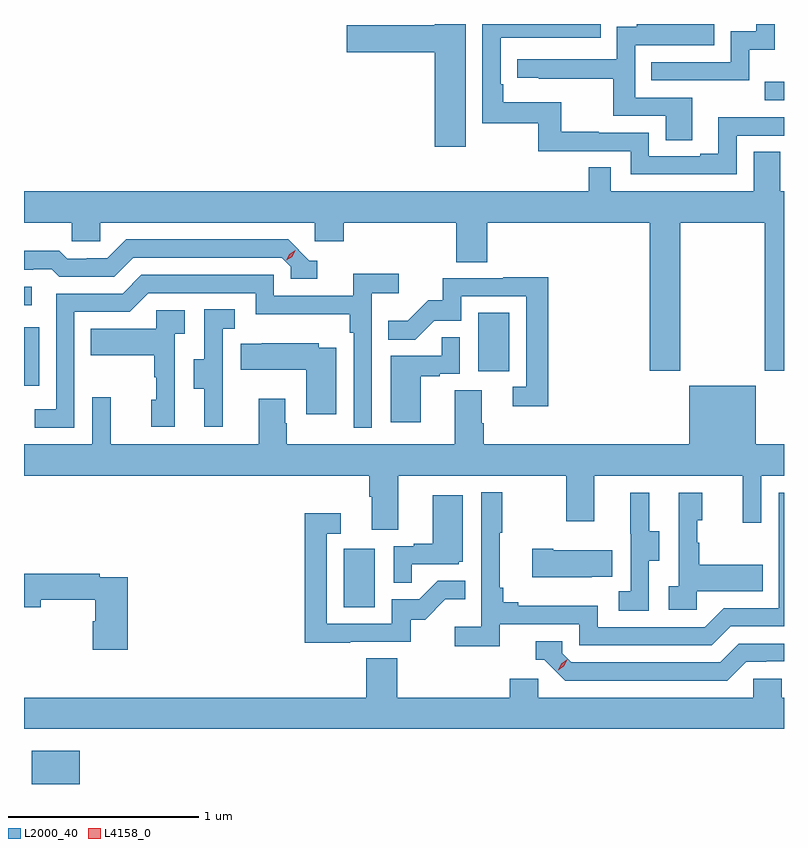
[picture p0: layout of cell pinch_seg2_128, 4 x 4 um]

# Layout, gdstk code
import gdstk
lib = gdstk.Library(unit=1e-6, precision=1e-09)
def R(c, l, rs):  # rectangles x0, y0, x1, y1
    for r in rs: c.add(gdstk.rectangle(r[:2], r[2:], *l))
def P(c, l, *ps):  # polygons
    for p in ps: c.add(gdstk.Polygon(p, *l))
L2000_40 = (2000, 40)
L4158_0 = (4158, 0)

pinch_seg2_128 = lib.new_cell('pinch_seg2_128')
R(pinch_seg2_128, L2000_40, [(1043.687,626.033,1043.938,626.209), (1045.328,626.964,1045.492,627.271), (1043.645,628.128,1043.724,628.438), (1046.036,628.206,1046.2,628.513), (1043.645,628.554,1043.686,628.65), (1047.543,629.631,1047.645,629.728)])
P(pinch_seg2_128, L2000_40, [(1045.969,630.033),(1045.808,630.033),(1045.808,630.027),(1045.344,630.027),(1045.344,629.885),(1045.808,629.885),(1045.808,629.388),(1045.969,629.388)],
  [(1047.462,629.897),(1047.595,629.897),(1047.595,630.033),(1047.498,630.033),(1047.498,629.995),(1047.366,629.995),(1047.366,629.832),(1046.947,629.832),(1046.947,629.736),(1047.462,629.736)],
  [(1047.396,629.445),(1047.645,629.445),(1047.645,629.541),(1047.504,629.541),(1047.504,629.543),(1047.299,629.543),(1047.299,629.35),(1047.203,629.35),(1047.203,629.337),(1046.934,629.337),(1046.934,629.46),(1046.669,629.46),(1046.669,629.465),(1046.473,629.465),(1046.473,629.62),(1046.168,629.62),(1046.168,629.716),(1046.154,629.716),(1046.154,629.961),(1046.467,629.961),(1046.467,629.96),(1046.681,629.96),(1046.681,630.033),(1046.058,630.033),(1046.058,629.511),(1046.352,629.511),(1046.352,629.364),(1046.838,629.364),(1046.838,629.241),(1047.396,629.241)],
  [(1047.163,629.646),(1046.862,629.646),(1046.862,629.922),(1047.279,629.922),(1047.279,630.033),(1047.168,630.033),(1047.168,630.031),(1046.869,630.031),(1046.869,630.019),(1046.766,630.019),(1046.766,629.847),(1046.241,629.847),(1046.241,629.751),(1046.353,629.751),(1046.353,629.746),(1046.746,629.746),(1046.746,629.55),(1047.023,629.55),(1047.023,629.422),(1047.163,629.422)],
  [(1047.099,628.988),(1047.544,628.988),(1047.544,628.209),(1047.645,628.209),(1047.645,629.152),(1047.624,629.152),(1047.624,629.36),(1047.485,629.36),(1047.485,629.152),(1046.733,629.152),(1046.733,629.279),(1046.617,629.279),(1046.617,629.152),(1043.645,629.152),(1043.645,628.988),(1043.895,628.988),(1043.895,628.89),(1044.045,628.89),(1044.045,628.988),(1045.176,628.988),(1045.176,628.89),(1045.328,628.89),(1045.328,628.988),(1045.919,628.988),(1045.919,628.78),(1046.084,628.78),(1046.084,628.988),(1046.939,628.988),(1046.939,628.209),(1047.099,628.209)],
  [(1045.189,628.788),(1045.146,628.788),(1045.035,628.899),(1044.182,628.899),(1044.083,628.8),(1043.976,628.8),(1043.976,628.797),(1043.873,628.797),(1043.831,628.84),(1043.645,628.84),(1043.645,628.74),(1043.693,628.74),(1043.693,628.743),(1043.792,628.743),(1043.831,628.704),(1044.12,628.704),(1044.219,628.803),(1045.002,628.803),(1045.05,628.755),(1045.05,628.692),(1045.189,628.692)],
  [(1043.91,628.518),(1044.201,628.518),(1044.3,628.617),(1044.864,628.617),(1044.864,628.505),(1045.36,628.505),(1045.36,628.409),(1045.38,628.409),(1045.38,627.909),(1045.476,627.909),(1045.476,628.616),(1045.618,628.616),(1045.618,628.718),(1045.379,628.718),(1045.379,628.602),(1044.96,628.602),(1044.96,628.713),(1044.263,628.713),(1044.164,628.614),(1043.814,628.614),(1043.814,628.005),(1043.701,628.005),(1043.701,627.909),(1043.91,627.909)],
  [(1046.405,628.7),(1046.167,628.7),(1046.167,628.695),(1045.849,628.695),(1045.849,628.578),(1045.772,628.578),(1045.665,628.471),(1045.561,628.471),(1045.561,628.372),(1045.705,628.372),(1045.803,628.47),(1045.947,628.47),(1045.947,628.599),(1046.289,628.599),(1046.289,628.125),(1046.217,628.125),(1046.217,628.02),(1046.405,628.02)],
  [(1044.692,628.125),(1044.69,628.125),(1044.69,628.429),(1044.754,628.429),(1044.754,628.532),(1044.594,628.532),(1044.594,628.269),(1044.539,628.269),(1044.539,628.114),(1044.593,628.114),(1044.593,627.912),(1044.692,627.912)],
  [(1044.438,628.403),(1044.49,628.403),(1044.49,628.527),(1044.342,628.527),(1044.342,628.429),(1043.995,628.429),(1043.995,628.289),(1044.33,628.289),(1044.33,628.175),(1044.34,628.175),(1044.34,628.056),(1044.314,628.056),(1044.314,627.912),(1044.438,627.912)],
  [(1045.732,628.179),(1045.832,628.179),(1045.832,628.191),(1045.938,628.191),(1045.938,628.385),(1045.843,628.385),(1045.843,628.287),(1045.574,628.287),(1045.574,627.936),(1045.732,627.936)],
  [(1045.288,628.33),(1045.197,628.33),(1045.197,628.354),(1044.895,628.354),(1044.895,628.351),(1044.787,628.351),(1044.787,628.214),(1045.13,628.214),(1045.13,627.978),(1045.288,627.978)],
  [(1045.615,627.656),(1046.5,627.656),(1046.5,627.417),(1046.647,627.417),(1046.647,627.656),(1047.428,627.656),(1047.428,627.408),(1047.525,627.408),(1047.525,627.656),(1047.645,627.656),(1047.645,627.82),(1047.496,627.82),(1047.496,628.129),(1047.146,628.129),(1047.146,627.82),(1046.066,627.82),(1046.066,627.932),(1046.053,627.932),(1046.053,628.106),(1045.913,628.106),(1045.913,627.82),(1045.029,627.82),(1045.029,627.932),(1045.021,627.932),(1045.021,628.06),(1044.881,628.06),(1044.881,627.82),(1044.101,627.82),(1044.101,628.069),(1044.003,628.069),(1044.003,627.82),(1043.645,627.82),(1043.645,627.656),(1045.463,627.656),(1045.463,627.544),(1045.475,627.544),(1045.475,627.37),(1045.615,627.37)],
  [(1046.15,626.874),(1046.568,626.874),(1046.568,626.763),(1047.265,626.763),(1047.364,626.862),(1047.645,626.862),(1047.645,627.567),(1047.618,627.567),(1047.618,626.958),(1047.327,626.958),(1047.228,626.859),(1046.664,626.859),(1046.664,626.971),(1046.245,626.971),(1046.245,626.99),(1046.168,626.99),(1046.168,627.067),(1046.149,627.067),(1046.149,627.355),(1046.161,627.355),(1046.161,627.568),(1046.052,627.568),(1046.052,626.86),(1045.911,626.86),(1045.911,626.758),(1046.15,626.758)],
  [(1047.186,627.047),(1047.533,627.047),(1047.533,627.187),(1047.199,627.187),(1047.199,627.302),(1047.189,627.302),(1047.189,627.42),(1047.214,627.42),(1047.214,627.565),(1047.09,627.565),(1047.09,627.074),(1047.039,627.074),(1047.039,626.949),(1047.186,626.949)],
  [(1046.934,627.208),(1046.989,627.208),(1046.989,627.363),(1046.935,627.363),(1046.935,627.565),(1046.837,627.565),(1046.837,627.351),(1046.838,627.351),(1046.838,627.047),(1046.775,627.047),(1046.775,626.944),(1046.934,626.944)],
  [(1045.685,627.189),(1045.932,627.189),(1045.932,627.204),(1045.954,627.204),(1045.954,627.553),(1045.796,627.553),(1045.796,627.298),(1045.697,627.298),(1045.697,627.285),(1045.59,627.285),(1045.59,627.091),(1045.685,627.091)],
  [(1045.361,626.781),(1045.68,626.781),(1045.68,626.898),(1045.756,626.898),(1045.863,627.005),(1045.967,627.005),(1045.967,627.104),(1045.823,627.104),(1045.725,627.006),(1045.581,627.006),(1045.581,626.877),(1045.239,626.877),(1045.239,627.351),(1045.312,627.351),(1045.312,627.457),(1045.123,627.457),(1045.123,626.776),(1045.361,626.776)],
  [(1046.633,627.125),(1046.741,627.125),(1046.741,627.262),(1046.431,627.262),(1046.431,627.27),(1046.319,627.27),(1046.319,627.122),(1046.633,627.122)],
  [(1044.191,627.12),(1044.044,627.12),(1044.044,627.14),(1043.645,627.14),(1043.645,626.962),(1043.734,626.962),(1043.734,627.004),(1044.02,627.004),(1044.02,626.889),(1044.008,626.889),(1044.008,626.739),(1044.191,626.739)],
  [(1047.445,626.676),(1047.552,626.676),(1047.552,626.679),(1047.645,626.679),(1047.645,626.772),(1047.408,626.772),(1047.309,626.673),(1046.526,626.673),(1046.478,626.721),(1046.478,626.784),(1046.339,626.784),(1046.339,626.688),(1046.382,626.688),(1046.493,626.577),(1047.346,626.577)],
  [(1047.645,626.488),(1047.633,626.488),(1047.633,626.586),(1047.483,626.586),(1047.483,626.488),(1046.352,626.488),(1046.352,626.586),(1046.201,626.586),(1046.201,626.488),(1045.61,626.488),(1045.61,626.696),(1045.445,626.696),(1045.445,626.488),(1043.645,626.488),(1043.645,626.324),(1047.645,626.324)])
P(pinch_seg2_128, L4158_0, [(1046.457,626.633),(1046.457,626.634),(1046.472,626.666),(1046.502,626.686),(1046.503,626.686),(1046.503,626.686),(1046.487,626.653),(1046.457,626.633)],
  [(1045.026,628.789),(1045.026,628.789),(1045.042,628.822),(1045.073,628.841),(1045.073,628.841),(1045.073,628.841),(1045.057,628.808),(1045.026,628.789)])

lib.write_gds('pinch_seg2_128.gds')
